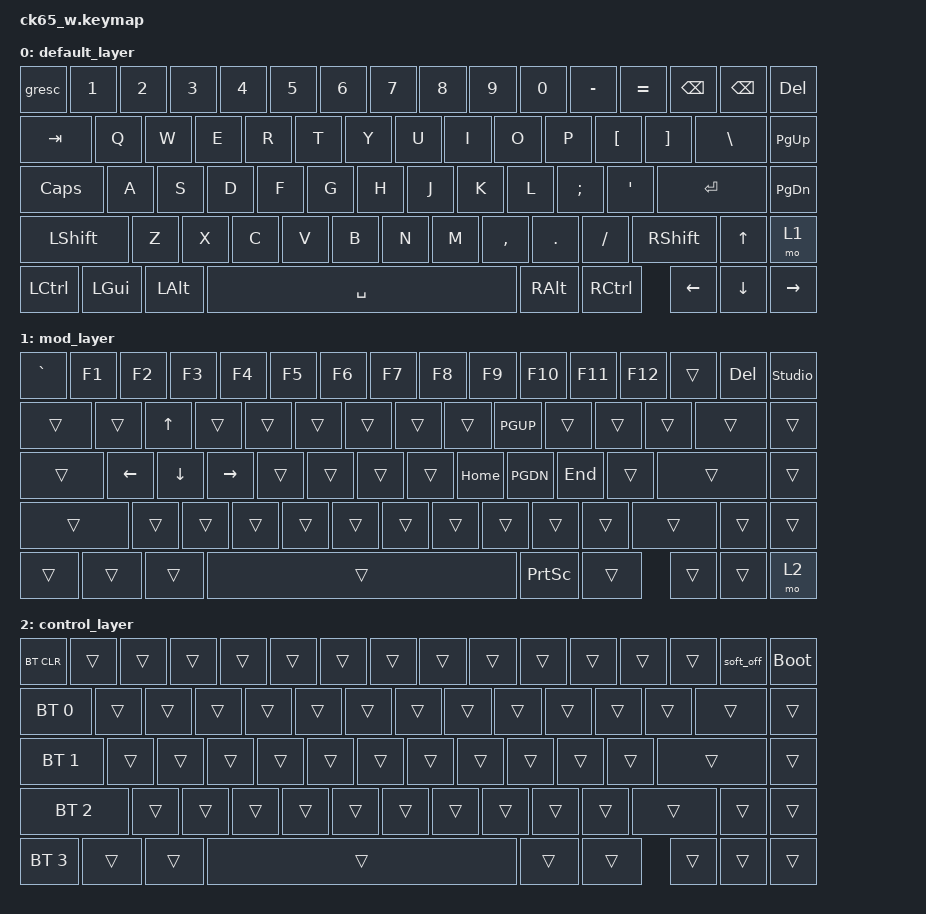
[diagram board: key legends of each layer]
/*
 * Copyright (c) 2024 Andrew Kannan
 *
 * SPDX-License-Identifier: MIT
 */

#include <behaviors.dtsi>
#include <dt-bindings/zmk/keys.h>
#include <dt-bindings/zmk/bt.h>

/ {
    keymap {
        compatible = "zmk,keymap";

        default_layer {
// --------------------------------------------------------------------------------------------------
// | ESC |  1  |  2  |  3  |  4  |  5  |  6  |  7  |  8  |  9  |  0  |  -  |  =  | BKSP|BKSP| DEL   |
// | TAB  |  Q  |  W  |  E  |  R  |  T  |  Y  |  U  |  I  |  O  |  P  |  [  |  ]  |   "|"   | PGUP  |
// | CAPS  |  A  |  S  |  D  |  F  |  G  |  H  |  J  |  K  |  L  |  ;  |  '  |     ENTER    | PGDN  |
// |  SHIFT  |  Z  |  X  |  C  |  V  |  B  |  N  |  M  |  ,  |  .  |  /  |  SHIFT  |  UP    | MO(1) |
// |  CTRL |  WIN  |  ALT  |            SPACE              |  ALT  |  CTRL |  LEFT |  DOWN  | RIGHT |
// --------------------------------------------------------------------------------------------------
            bindings = <
    &gresc  &kp N1 &kp N2 &kp N3 &kp N4 &kp N5 &kp N6 &kp N7 &kp N8 &kp N9 &kp N0 &kp MINUS &kp EQUAL  &kp BSPC &kp BSPC &kp DEL
    &kp TAB  &kp Q  &kp W  &kp E  &kp R  &kp T  &kp Y  &kp U  &kp I  &kp O  &kp P  &kp LBKT  &kp RBKT  &kp BSLH &kp PG_UP
    &kp CLCK  &kp A  &kp S  &kp D  &kp F  &kp G  &kp H  &kp J  &kp K  &kp L  &kp SEMI &kp SQT           &kp RET &kp PG_DN
    &kp LSHFT   &kp Z  &kp X  &kp C  &kp V  &kp B  &kp N  &kp M  &kp COMMA &kp DOT &kp FSLH   &kp RSHFT &kp UP  &mo 1
    &kp LCTRL &kp LGUI &kp LALT             &kp SPACE                      &kp RALT  &kp RCTRL &kp LEFT &kp DOWN &kp RIGHT
                >;
        };

        mod_layer {
// --------------------------------------------------------------------------------------------------------
// |    `   | F1  | F2  | F3  | F4  | F5  | F6  | F7  | F8  | F9  | F10  | F11 | F12 |     | DEL  |       |
// |           |   |  UP |   |       |       |       |       |      |  PGUP |    |     |    |     |       |
// |          | LT |  DN  | RT |       |       |       |      | HOME | PGDN | END  |  |          |       |
// |             |     |      |      |     |     |     |     |     |     |     |         |        |       |
// |         |      |      |                                    | PRT SCR |       |       |       | MO(2) |
// --------------------------------------------------------------------------------------------------------
            bindings = <
    &kp GRAVE &kp F1    &kp F2    &kp F3  &kp F4           &kp F5          &kp F6          &kp F7          &kp F8   &kp F9   &kp F10  &kp F11 &kp F12  &trans &kp DEL &studio_unlock  
    &trans          &trans    &kp UP    &trans  &trans           &trans          &trans &trans  &trans   &kp PGUP   &trans   &trans  &trans    &trans &trans   
    &trans          &kp LEFT  &kp DOWN  &kp RIGHT &trans          &trans          &trans &trans &kp HOME &kp PGDN &kp END   &trans        &trans &trans  
    &trans       &trans    &trans    &trans   &trans          &trans          &trans          &trans          &trans   &trans   &trans                 &trans  &trans &trans  
    &trans       &trans   &trans                              &trans                                      &kp PSCRN      &trans      &trans              &trans &mo 2
            >;
        };

        control_layer {
// ---------------------------------------------------------------------------------------------------------
// | BT CLR |     |     |     |     |     |     |     |     |     |     |    |    |       |SOFTOFF| BOOTLDR|
// |  BT 1   |   |     |   |       |       |       |       |   |     |    |     |     |           |        |
// |   BT 2   |    |      |    |       |       |       |       |      |      |      |  |          |        |
// |    BT 3     |     |      |      |     |     |     |     |     |     |     |         |        |        |
// |   BT 4  |      |      |                                    |         |       |       |       |        |
// ---------------------------------------------------------------------------------------------------------
            bindings = <
    &bt BT_CLR   &trans    &trans    &trans  &trans           &trans          &trans     &trans      &trans   &trans   &trans  &trans &trans  &trans &soft_off &bootloader
    &bt BT_SEL 0  &trans    &trans    &trans  &trans  &trans &trans &trans  &trans   &trans   &trans   &trans  &trans        &trans  &trans
    &bt BT_SEL 1   &trans  &trans  &trans &trans &trans &trans &trans &trans &trans &trans   &trans        &trans &trans
    &bt BT_SEL 2    &trans    &trans    &trans   &trans          &trans          &trans          &trans          &trans   &trans   &trans     &trans  &trans &trans
    &bt BT_SEL 3  &trans   &trans                            &trans                                      &trans      &trans      &trans               &trans &trans
            >;
        };

    };

    combos {
        compatible = "zmk,combos";
        combo_bt {
            timeout-ms = <50>;
            key-positions = <59 68>;
            bindings = <&mo 2>;
        };
    };

};
